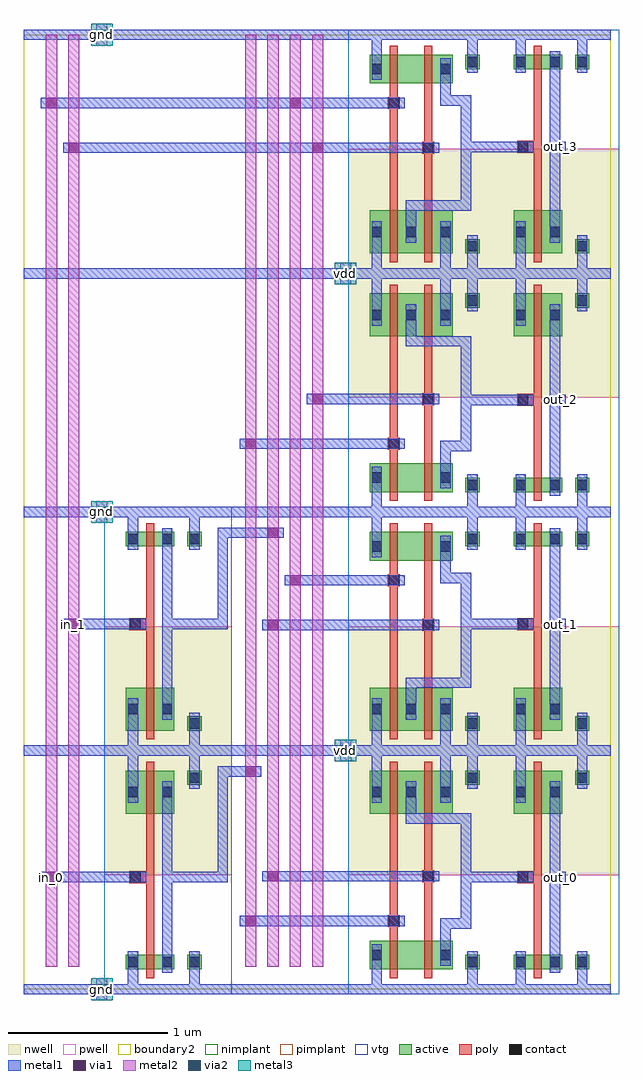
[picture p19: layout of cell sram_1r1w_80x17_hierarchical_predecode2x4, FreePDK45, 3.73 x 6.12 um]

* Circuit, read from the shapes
.subckt sram_1r1w_80x17_hierarchical_predecode2x4 gnd in_0 in_1 out_0 out_1 out_2 out_3 vdd
M1 sram_1r1w_80x17_and2_dec_2/A in_0 gnd gnd nfet w=0.09u l=0.05u
M2 sram_1r1w_80x17_and2_dec_2/B in_1 gnd gnd nfet w=0.09u l=0.05u
M3 sram_1r1w_80x17_and2_dec_2/sram_1r1w_80x17_pnand2_0/sram_1r1w_80x17_nmos_m1_w0_180_sm1_dactive_2/D sram_1r1w_80x17_and2_dec_2/A gnd gnd nfet w=0.18u l=0.05u
M4 sram_1r1w_80x17_and2_dec_3/sram_1r1w_80x17_pnand2_0/sram_1r1w_80x17_nmos_m1_w0_180_sm1_dactive_2/D in_0 gnd gnd nfet w=0.18u l=0.05u
M5 sram_1r1w_80x17_and2_dec_4/sram_1r1w_80x17_pnand2_0/sram_1r1w_80x17_nmos_m1_w0_180_sm1_dactive_2/D sram_1r1w_80x17_and2_dec_2/A gnd gnd nfet w=0.18u l=0.05u
M6 sram_1r1w_80x17_and2_dec_5/sram_1r1w_80x17_pnand2_0/sram_1r1w_80x17_nmos_m1_w0_180_sm1_dactive_2/D in_0 gnd gnd nfet w=0.18u l=0.05u
M7 sram_1r1w_80x17_and2_dec_2/sram_1r1w_80x17_pinv_1/A sram_1r1w_80x17_and2_dec_2/B sram_1r1w_80x17_and2_dec_2/sram_1r1w_80x17_pnand2_0/sram_1r1w_80x17_nmos_m1_w0_180_sm1_dactive_2/D gnd nfet w=0.18u l=0.05u
M8 sram_1r1w_80x17_and2_dec_3/sram_1r1w_80x17_pinv_1/A sram_1r1w_80x17_and2_dec_2/B sram_1r1w_80x17_and2_dec_3/sram_1r1w_80x17_pnand2_0/sram_1r1w_80x17_nmos_m1_w0_180_sm1_dactive_2/D gnd nfet w=0.18u l=0.05u
M9 sram_1r1w_80x17_and2_dec_4/sram_1r1w_80x17_pinv_1/A in_1 sram_1r1w_80x17_and2_dec_4/sram_1r1w_80x17_pnand2_0/sram_1r1w_80x17_nmos_m1_w0_180_sm1_dactive_2/D gnd nfet w=0.18u l=0.05u
M10 sram_1r1w_80x17_and2_dec_5/sram_1r1w_80x17_pinv_1/A in_1 sram_1r1w_80x17_and2_dec_5/sram_1r1w_80x17_pnand2_0/sram_1r1w_80x17_nmos_m1_w0_180_sm1_dactive_2/D gnd nfet w=0.18u l=0.05u
M11 out_0 sram_1r1w_80x17_and2_dec_2/sram_1r1w_80x17_pinv_1/A gnd gnd nfet w=0.09u l=0.05u
M12 out_1 sram_1r1w_80x17_and2_dec_3/sram_1r1w_80x17_pinv_1/A gnd gnd nfet w=0.09u l=0.05u
M13 out_2 sram_1r1w_80x17_and2_dec_4/sram_1r1w_80x17_pinv_1/A gnd gnd nfet w=0.09u l=0.05u
M14 out_3 sram_1r1w_80x17_and2_dec_5/sram_1r1w_80x17_pinv_1/A gnd gnd nfet w=0.09u l=0.05u
M15 sram_1r1w_80x17_and2_dec_2/A in_0 vdd vdd pfet w=0.27u l=0.05u
M16 sram_1r1w_80x17_and2_dec_2/B in_1 vdd vdd pfet w=0.27u l=0.05u
M17 sram_1r1w_80x17_and2_dec_2/sram_1r1w_80x17_pinv_1/A sram_1r1w_80x17_and2_dec_2/A vdd vdd pfet w=0.27u l=0.05u
M18 sram_1r1w_80x17_and2_dec_3/sram_1r1w_80x17_pinv_1/A in_0 vdd vdd pfet w=0.27u l=0.05u
M19 sram_1r1w_80x17_and2_dec_4/sram_1r1w_80x17_pinv_1/A sram_1r1w_80x17_and2_dec_2/A vdd vdd pfet w=0.27u l=0.05u
M20 sram_1r1w_80x17_and2_dec_5/sram_1r1w_80x17_pinv_1/A in_0 vdd vdd pfet w=0.27u l=0.05u
M21 vdd sram_1r1w_80x17_and2_dec_2/B sram_1r1w_80x17_and2_dec_2/sram_1r1w_80x17_pinv_1/A vdd pfet w=0.27u l=0.05u
M22 vdd sram_1r1w_80x17_and2_dec_2/B sram_1r1w_80x17_and2_dec_3/sram_1r1w_80x17_pinv_1/A vdd pfet w=0.27u l=0.05u
M23 vdd in_1 sram_1r1w_80x17_and2_dec_4/sram_1r1w_80x17_pinv_1/A vdd pfet w=0.27u l=0.05u
M24 vdd in_1 sram_1r1w_80x17_and2_dec_5/sram_1r1w_80x17_pinv_1/A vdd pfet w=0.27u l=0.05u
M25 out_0 sram_1r1w_80x17_and2_dec_2/sram_1r1w_80x17_pinv_1/A vdd vdd pfet w=0.27u l=0.05u
M26 out_1 sram_1r1w_80x17_and2_dec_3/sram_1r1w_80x17_pinv_1/A vdd vdd pfet w=0.27u l=0.05u
M27 out_2 sram_1r1w_80x17_and2_dec_4/sram_1r1w_80x17_pinv_1/A vdd vdd pfet w=0.27u l=0.05u
M28 out_3 sram_1r1w_80x17_and2_dec_5/sram_1r1w_80x17_pinv_1/A vdd vdd pfet w=0.27u l=0.05u
.ends

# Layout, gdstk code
import gdstk
lib = gdstk.Library(unit=1e-6, precision=5e-10)
def R(c, l, rs):  # rectangles x0, y0, x1, y1
    for r in rs: c.add(gdstk.rectangle(r[:2], r[2:], *l))
def A(c, l, x, y, w, h, nx, ny, dx, dy):  # array of equal rectangles
    R(c, l, [(x+i*dx, y+j*dy, x+i*dx+w, y+j*dy+h) for i in range(nx) for j in range(ny)])
active = (1, 0)
pwell = (2, 0)
nwell = (3, 0)
nimplant = (4, 0)
pimplant = (5, 0)
vtg = (6, 0)
poly = (9, 0)
contact = (10, 0)
metal1 = (11, 0)
via1 = (12, 0)
metal2 = (13, 0)
via2 = (14, 0)
metal3 = (15, 0)
boundary2 = (239, 0)

sram_1r1w_80x17_contact_ = lib.new_cell('sram_1r1w_80x17_contact_11')
R(sram_1r1w_80x17_contact_, active, [(0,0.0225,0.09,0.1125)])
R(sram_1r1w_80x17_contact_, nwell, [(-0.055,-0.0325,0.145,0.1675)])
R(sram_1r1w_80x17_contact_, pimplant, [(0,0.0225,0.09,0.1125)])
R(sram_1r1w_80x17_contact_, contact, [(0.0125,0.035,0.0775,0.1)])
R(sram_1r1w_80x17_contact_, metal1, [(0.0125,0,0.0775,0.135)])
R(sram_1r1w_80x17_contact_, boundary2, [(-0.055,-0.0325,0.145,0.1675)])

sram_1r1w_80x17_pmos_m1_ = lib.new_cell('sram_1r1w_80x17_pmos_m1_w0_270_sm1_dm1_da_p')
R(sram_1r1w_80x17_pmos_m1_, active, [(0,0,0.305,0.27)])
R(sram_1r1w_80x17_pmos_m1_, nwell, [(-0.08,-0.08,0.385,0.35)])
R(sram_1r1w_80x17_pmos_m1_, pimplant, [(0,0,0.305,0.27)])
R(sram_1r1w_80x17_pmos_m1_, vtg, [(-0.08,-0.08,0.385,0.35)])
R(sram_1r1w_80x17_pmos_m1_, poly, [(0.1275,-0.055,0.1775,0.325), (0.1275,-0.055,0.1775,0.325)])
R(sram_1r1w_80x17_pmos_m1_, metal1, [(0.0125,0.0675,0.0775,0.2025), (0.2275,0.0675,0.2925,0.2025)])
R(sram_1r1w_80x17_pmos_m1_, boundary2, [(-0.08,-0.08,0.385,0.35)])
sram_1r1w_80x17_pmos_m1_.add(gdstk.Reference(sram_1r1w_80x17_contact_, (0,0.0675)))
sram_1r1w_80x17_pmos_m1_.add(gdstk.Reference(sram_1r1w_80x17_contact_, (0.215,0.0675)))
sram_1r1w_80x17_pmos_m1_.add(gdstk.Label('G', (0.1525,0.135), layer=9, texttype=0))
sram_1r1w_80x17_pmos_m1_.add(gdstk.Label('S', (0.045,0.135), layer=11, texttype=0))
sram_1r1w_80x17_pmos_m1_.add(gdstk.Label('D', (0.26,0.135), layer=11, texttype=0))

c_sram_1r1w_80x17_contact_ = lib.new_cell('sram_1r1w_80x17_contact_10')
R(c_sram_1r1w_80x17_contact_, active, [(0,0.0225,0.09,0.1125)])
R(c_sram_1r1w_80x17_contact_, pwell, [(-0.055,-0.0325,0.145,0.1675)])
R(c_sram_1r1w_80x17_contact_, nimplant, [(0,0.0225,0.09,0.1125)])
R(c_sram_1r1w_80x17_contact_, contact, [(0.0125,0.035,0.0775,0.1)])
R(c_sram_1r1w_80x17_contact_, metal1, [(0.0125,0,0.0775,0.135)])
R(c_sram_1r1w_80x17_contact_, boundary2, [(-0.055,-0.0325,0.145,0.1675)])

sram_1r1w_80x17_nmos_m1_ = lib.new_cell('sram_1r1w_80x17_nmos_m1_w0_090_sm1_dm1_da_p')
R(sram_1r1w_80x17_nmos_m1_, active, [(0,0,0.305,0.09)])
R(sram_1r1w_80x17_nmos_m1_, pwell, [(-0.08,-0.08,0.385,0.17)])
R(sram_1r1w_80x17_nmos_m1_, nimplant, [(0,0,0.305,0.09)])
R(sram_1r1w_80x17_nmos_m1_, vtg, [(-0.08,-0.08,0.385,0.17)])
R(sram_1r1w_80x17_nmos_m1_, poly, [(0.1275,-0.055,0.1775,0.145), (0.1275,-0.055,0.1775,0.145)])
R(sram_1r1w_80x17_nmos_m1_, metal1, [(0.0125,-0.0225,0.0775,0.1125), (0.2275,-0.0225,0.2925,0.1125)])
R(sram_1r1w_80x17_nmos_m1_, boundary2, [(-0.08,-0.08,0.385,0.17)])
sram_1r1w_80x17_nmos_m1_.add(gdstk.Reference(c_sram_1r1w_80x17_contact_, (0,-0.0225)))
sram_1r1w_80x17_nmos_m1_.add(gdstk.Reference(c_sram_1r1w_80x17_contact_, (0.215,-0.0225)))
sram_1r1w_80x17_nmos_m1_.add(gdstk.Label('G', (0.1525,0.045), layer=9, texttype=0))
sram_1r1w_80x17_nmos_m1_.add(gdstk.Label('S', (0.045,0.045), layer=11, texttype=0))
sram_1r1w_80x17_nmos_m1_.add(gdstk.Label('D', (0.26,0.045), layer=11, texttype=0))

c_sram_1r1w_80x17_contact__ = lib.new_cell('sram_1r1w_80x17_contact_12')
R(c_sram_1r1w_80x17_contact__, active, [(0,0.0225,0.09,0.1125)])
R(c_sram_1r1w_80x17_contact__, nwell, [(-0.055,-0.0325,0.145,0.1675)])
R(c_sram_1r1w_80x17_contact__, nimplant, [(0,0.0225,0.09,0.1125)])
R(c_sram_1r1w_80x17_contact__, contact, [(0.0125,0.035,0.0775,0.1)])
R(c_sram_1r1w_80x17_contact__, metal1, [(0.0125,0,0.0775,0.135)])
R(c_sram_1r1w_80x17_contact__, boundary2, [(-0.055,-0.0325,0.145,0.1675)])

c_sram_1r1w_80x17_contact___ = lib.new_cell('sram_1r1w_80x17_contact_13')
R(c_sram_1r1w_80x17_contact___, active, [(0,0.0225,0.09,0.1125)])
R(c_sram_1r1w_80x17_contact___, pwell, [(-0.055,-0.0325,0.145,0.1675)])
R(c_sram_1r1w_80x17_contact___, pimplant, [(0,0.0225,0.09,0.1125)])
R(c_sram_1r1w_80x17_contact___, contact, [(0.0125,0.035,0.0775,0.1)])
R(c_sram_1r1w_80x17_contact___, metal1, [(0.0125,0,0.0775,0.135)])
R(c_sram_1r1w_80x17_contact___, boundary2, [(-0.055,-0.0325,0.145,0.1675)])

c_sram_1r1w_80x17_contact____ = lib.new_cell('sram_1r1w_80x17_contact_14')
R(c_sram_1r1w_80x17_contact____, poly, [(0.03,0,0.105,0.075)])
R(c_sram_1r1w_80x17_contact____, contact, [(0.035,0.005,0.1,0.07)])
R(c_sram_1r1w_80x17_contact____, metal1, [(0,0.005,0.135,0.07)])
R(c_sram_1r1w_80x17_contact____, boundary2, [(0,0,0.135,0.075)])

sram_1r1w_80x17_pinv = lib.new_cell('sram_1r1w_80x17_pinv')
R(sram_1r1w_80x17_pinv, pwell, [(-0.055,-0.0325,0.7425,0.7175)])
R(sram_1r1w_80x17_pinv, nwell, [(-0.055,0.7175,0.7425,1.53)])
R(sram_1r1w_80x17_pinv, vtg, [(-0.055,-0.0325,0.7425,0.7175), (-0.055,0.7175,0.7425,1.53)])
R(sram_1r1w_80x17_pinv, poly, [(0.2075,0.27,0.2575,1.045), (0.14,0.665,0.2075,0.74)])
R(sram_1r1w_80x17_pinv, metal1, [(0,-0.0325,0.6875,0.0325), (0.0925,-0.0325,0.1575,0.1025), (0.4775,0,0.5425,0.17), (0.3075,0.1025,0.3725,1.3025), (0.0725,0.67,0.2075,0.735), (0.34,0.67,0.405,0.735), (0.0925,1.1675,0.1575,1.5275), (0.4775,1.325,0.5425,1.495), (0,1.4625,0.6875,1.5275)])
R(sram_1r1w_80x17_pinv, boundary2, [(0,0,0.6875,1.495), (0,0,0.6875,1.495)])
sram_1r1w_80x17_pinv.add(gdstk.Reference(sram_1r1w_80x17_pmos_m1_, (0.08,1.1)))
sram_1r1w_80x17_pinv.add(gdstk.Reference(sram_1r1w_80x17_nmos_m1_, (0.08,0.125)))
sram_1r1w_80x17_pinv.add(gdstk.Reference(c_sram_1r1w_80x17_contact__, (0.465,1.2575)))
sram_1r1w_80x17_pinv.add(gdstk.Reference(c_sram_1r1w_80x17_contact___, (0.465,0.1025)))
sram_1r1w_80x17_pinv.add(gdstk.Reference(c_sram_1r1w_80x17_contact____, (0.0725,0.665)))
sram_1r1w_80x17_pinv.add(gdstk.Label('A', (0.14,0.7025), layer=11, texttype=0))
sram_1r1w_80x17_pinv.add(gdstk.Label('Z', (0.3725,0.7025), layer=11, texttype=0))
sram_1r1w_80x17_pinv.add(gdstk.Label('gnd', (0.344,0), layer=11, texttype=0))
sram_1r1w_80x17_pinv.add(gdstk.Label('vdd', (0.344,1.495), layer=11, texttype=0))

c_sram_1r1w_80x17_pmos_m1_ = lib.new_cell('sram_1r1w_80x17_pmos_m1_w0_270_sm1_dm1')
R(c_sram_1r1w_80x17_pmos_m1_, active, [(0,0,0.305,0.27)])
R(c_sram_1r1w_80x17_pmos_m1_, nwell, [(-0.08,-0.08,0.385,0.35)])
R(c_sram_1r1w_80x17_pmos_m1_, pimplant, [(0,0,0.305,0.27)])
R(c_sram_1r1w_80x17_pmos_m1_, vtg, [(-0.08,-0.08,0.385,0.35)])
R(c_sram_1r1w_80x17_pmos_m1_, poly, [(0.1275,-0.055,0.1775,0.325), (0.1275,-0.055,0.1775,0.325)])
R(c_sram_1r1w_80x17_pmos_m1_, metal1, [(0.0125,0.0675,0.0775,0.2025), (0.2275,0.0675,0.2925,0.2025)])
R(c_sram_1r1w_80x17_pmos_m1_, boundary2, [(-0.08,-0.08,0.385,0.35)])
c_sram_1r1w_80x17_pmos_m1_.add(gdstk.Reference(sram_1r1w_80x17_contact_, (0,0.0675)))
c_sram_1r1w_80x17_pmos_m1_.add(gdstk.Reference(sram_1r1w_80x17_contact_, (0.215,0.0675)))
c_sram_1r1w_80x17_pmos_m1_.add(gdstk.Label('G', (0.1525,0.135), layer=9, texttype=0))
c_sram_1r1w_80x17_pmos_m1_.add(gdstk.Label('S', (0.045,0.135), layer=11, texttype=0))
c_sram_1r1w_80x17_pmos_m1_.add(gdstk.Label('D', (0.26,0.135), layer=11, texttype=0))

c_sram_1r1w_80x17_nmos_m1_ = lib.new_cell('sram_1r1w_80x17_nmos_m1_w0_180_sm1_dactive')
R(c_sram_1r1w_80x17_nmos_m1_, active, [(0,0,0.305,0.18), (0.215,0.045,0.305,0.135)])
R(c_sram_1r1w_80x17_nmos_m1_, pwell, [(-0.08,-0.08,0.385,0.26)])
R(c_sram_1r1w_80x17_nmos_m1_, nimplant, [(0,0,0.305,0.18)])
R(c_sram_1r1w_80x17_nmos_m1_, vtg, [(-0.08,-0.08,0.385,0.26)])
R(c_sram_1r1w_80x17_nmos_m1_, poly, [(0.1275,-0.055,0.1775,0.235), (0.1275,-0.055,0.1775,0.235)])
R(c_sram_1r1w_80x17_nmos_m1_, metal1, [(0.0125,0.0225,0.0775,0.1575)])
R(c_sram_1r1w_80x17_nmos_m1_, boundary2, [(-0.08,-0.08,0.385,0.26)])
c_sram_1r1w_80x17_nmos_m1_.add(gdstk.Reference(c_sram_1r1w_80x17_contact_, (0,0.0225)))
c_sram_1r1w_80x17_nmos_m1_.add(gdstk.Label('G', (0.1525,0.09), layer=9, texttype=0))
c_sram_1r1w_80x17_nmos_m1_.add(gdstk.Label('S', (0.045,0.09), layer=11, texttype=0))
c_sram_1r1w_80x17_nmos_m1_.add(gdstk.Label('D', (0.26,0.09), layer=1, texttype=0))

c_sram_1r1w_80x17_nmos_m1__ = lib.new_cell('sram_1r1w_80x17_nmos_m1_w0_180_sactive_dm1')
R(c_sram_1r1w_80x17_nmos_m1__, active, [(0,0,0.305,0.18), (0,0.045,0.09,0.135)])
R(c_sram_1r1w_80x17_nmos_m1__, pwell, [(-0.08,-0.08,0.385,0.26)])
R(c_sram_1r1w_80x17_nmos_m1__, nimplant, [(0,0,0.305,0.18)])
R(c_sram_1r1w_80x17_nmos_m1__, vtg, [(-0.08,-0.08,0.385,0.26)])
R(c_sram_1r1w_80x17_nmos_m1__, poly, [(0.1275,-0.055,0.1775,0.235), (0.1275,-0.055,0.1775,0.235)])
R(c_sram_1r1w_80x17_nmos_m1__, metal1, [(0.2275,0.0225,0.2925,0.1575)])
R(c_sram_1r1w_80x17_nmos_m1__, boundary2, [(-0.08,-0.08,0.385,0.26)])
c_sram_1r1w_80x17_nmos_m1__.add(gdstk.Reference(c_sram_1r1w_80x17_contact_, (0.215,0.0225)))
c_sram_1r1w_80x17_nmos_m1__.add(gdstk.Label('G', (0.1525,0.09), layer=9, texttype=0))
c_sram_1r1w_80x17_nmos_m1__.add(gdstk.Label('S', (0.045,0.09), layer=1, texttype=0))
c_sram_1r1w_80x17_nmos_m1__.add(gdstk.Label('D', (0.26,0.09), layer=11, texttype=0))

sram_1r1w_80x17_pnand2 = lib.new_cell('sram_1r1w_80x17_pnand2')
R(sram_1r1w_80x17_pnand2, pwell, [(-0.055,-0.0325,0.9575,0.7175)])
R(sram_1r1w_80x17_pnand2, nwell, [(-0.055,0.7175,0.9575,1.53)])
R(sram_1r1w_80x17_pnand2, vtg, [(-0.055,-0.0325,0.9575,0.7175), (-0.055,0.7175,0.9575,1.53)])
R(sram_1r1w_80x17_pnand2, poly, [(0.2075,0.36,0.2575,1.045), (0.4225,0.36,0.4725,1.045), (0.2075,0.39,0.2325,0.465), (0.4225,0.67,0.4475,0.745)])
R(sram_1r1w_80x17_pnand2, metal1, [(0,-0.0325,0.9025,0.0325), (0.0925,-0.0325,0.1575,0.1475), (0.6925,0,0.7575,0.17), (0.5225,0.2825,0.5875,0.4125), (0.5225,0.38,0.5875,0.445), (0.555,0.38,0.685,0.445), (0.6525,0.38,0.7175,0.445), (0.165,0.395,0.3,0.46), (0.6525,0.4125,0.7175,1.07), (0.38,0.675,0.515,0.74), (0.3075,1.0375,0.3725,1.1025), (0.34,1.0375,0.685,1.1025), (0.6525,1.0375,0.7175,1.1025), (0.3075,1.07,0.3725,1.1675), (0.0925,1.1675,0.1575,1.5275), (0.5225,1.1675,0.5875,1.5275), (0.6925,1.325,0.7575,1.495), (0,1.4625,0.9025,1.5275)])
R(sram_1r1w_80x17_pnand2, boundary2, [(0,0,0.9025,1.495), (0,0,0.9025,1.495)])
sram_1r1w_80x17_pnand2.add(gdstk.Reference(c_sram_1r1w_80x17_pmos_m1_, (0.08,1.1)))
sram_1r1w_80x17_pnand2.add(gdstk.Reference(c_sram_1r1w_80x17_pmos_m1_, (0.295,1.1)))
sram_1r1w_80x17_pnand2.add(gdstk.Reference(c_sram_1r1w_80x17_nmos_m1_, (0.08,0.125)))
sram_1r1w_80x17_pnand2.add(gdstk.Reference(c_sram_1r1w_80x17_nmos_m1__, (0.295,0.125)))
sram_1r1w_80x17_pnand2.add(gdstk.Reference(c_sram_1r1w_80x17_contact__, (0.68,1.2575)))
sram_1r1w_80x17_pnand2.add(gdstk.Reference(c_sram_1r1w_80x17_contact___, (0.68,0.1025)))
sram_1r1w_80x17_pnand2.add(gdstk.Reference(c_sram_1r1w_80x17_contact____, (0.165,0.39)))
sram_1r1w_80x17_pnand2.add(gdstk.Reference(c_sram_1r1w_80x17_contact____, (0.38,0.67)))
sram_1r1w_80x17_pnand2.add(gdstk.Label('Z', (0.685,1.07), layer=11, texttype=0))
sram_1r1w_80x17_pnand2.add(gdstk.Label('gnd', (0.451,0), layer=11, texttype=0))
sram_1r1w_80x17_pnand2.add(gdstk.Label('vdd', (0.451,1.495), layer=11, texttype=0))
sram_1r1w_80x17_pnand2.add(gdstk.Label('A', (0.2325,0.4275), layer=11, texttype=0))
sram_1r1w_80x17_pnand2.add(gdstk.Label('B', (0.4475,0.7075), layer=11, texttype=0))

sram_1r1w_80x17_and2_dec = lib.new_cell('sram_1r1w_80x17_and2_dec')
R(sram_1r1w_80x17_and2_dec, metal1, [(0,-0.0325,1.59,0.0325), (0.165,0.395,0.3,0.46), (0.6525,0.67,0.7175,0.735), (0.685,0.67,1.0425,0.735), (1.2425,0.67,1.3075,0.735), (0.38,0.675,0.515,0.74), (0.6525,0.7025,0.7175,1.07), (0,1.4625,1.59,1.5275)])
R(sram_1r1w_80x17_and2_dec, boundary2, [(0,0,1.59,1.495)])
sram_1r1w_80x17_and2_dec.add(gdstk.Reference(sram_1r1w_80x17_pnand2, (0,0)))
sram_1r1w_80x17_and2_dec.add(gdstk.Reference(sram_1r1w_80x17_pinv, (0.9025,0)))
sram_1r1w_80x17_and2_dec.add(gdstk.Label('Z', (1.275,0.7025), layer=11, texttype=0))
sram_1r1w_80x17_and2_dec.add(gdstk.Label('A', (0.2325,0.4275), layer=11, texttype=0))
sram_1r1w_80x17_and2_dec.add(gdstk.Label('B', (0.4475,0.7075), layer=11, texttype=0))
sram_1r1w_80x17_and2_dec.add(gdstk.Label('gnd', (0.795,0), layer=11, texttype=0))
sram_1r1w_80x17_and2_dec.add(gdstk.Label('vdd', (0.795,1.495), layer=11, texttype=0))

c_sram_1r1w_80x17_contact_____ = lib.new_cell('sram_1r1w_80x17_contact_15')
R(c_sram_1r1w_80x17_contact_____, metal1, [(0,0.035,0.135,0.1)])
R(c_sram_1r1w_80x17_contact_____, via1, [(0.035,0.035,0.1,0.1)])
R(c_sram_1r1w_80x17_contact_____, metal2, [(0.0325,0,0.1025,0.135)])
R(c_sram_1r1w_80x17_contact_____, boundary2, [(0,0,0.135,0.135)])

c_sram_1r1w_80x17_contact______ = lib.new_cell('sram_1r1w_80x17_contact_17')
R(c_sram_1r1w_80x17_contact______, metal1, [(0,0.035,0.135,0.1)])
R(c_sram_1r1w_80x17_contact______, via1, [(0.035,0.035,0.1,0.1)])
R(c_sram_1r1w_80x17_contact______, metal2, [(0.0325,0,0.1025,0.135)])
R(c_sram_1r1w_80x17_contact______, boundary2, [(0,0,0.135,0.135)])

c_sram_1r1w_80x17_contact_______ = lib.new_cell('sram_1r1w_80x17_contact_18')
R(c_sram_1r1w_80x17_contact_______, metal2, [(0.0325,0,0.1025,0.135)])
R(c_sram_1r1w_80x17_contact_______, via2, [(0.035,0.035,0.1,0.1)])
R(c_sram_1r1w_80x17_contact_______, metal3, [(0,0.0325,0.135,0.1025)])
R(c_sram_1r1w_80x17_contact_______, boundary2, [(0,0,0.135,0.135)])

sram_1r1w_80x17_hierarch = lib.new_cell('sram_1r1w_80x17_hierarchical_predecode2x4')
R(sram_1r1w_80x17_hierarch, metal1, [(0,-0.0325,3.6775,0.0325), (1.4225,0.395,2.32,0.46), (2.2875,0.395,2.3525,0.46), (0.175,0.67,0.7,0.735), (0.6675,0.67,0.7325,0.735), (0.9325,0.67,0.9975,0.735), (0.965,0.67,1.2475,0.735), (1.215,0.67,1.28,0.735), (3.33,0.67,3.395,0.735), (1.5625,0.675,2.535,0.74), (2.5025,0.675,2.5675,0.74), (1.215,0.7025,1.28,1.365), (1.215,1.3325,1.28,1.3975), (1.2475,1.3325,1.4225,1.3975), (0,1.4625,3.6775,1.5275), (0,1.4625,3.6775,1.5275), (1.5625,2.25,2.535,2.315), (2.5025,2.25,2.5675,2.315), (0.315,2.255,0.7,2.32), (0.6675,2.255,0.7325,2.32), (0.9325,2.255,0.9975,2.32), (0.965,2.255,1.2475,2.32), (1.215,2.255,1.28,2.32), (3.33,2.255,3.395,2.32), (1.215,2.2875,1.28,2.86), (1.7025,2.53,2.32,2.595), (2.2875,2.53,2.3525,2.595), (1.215,2.8275,1.28,2.8925), (1.2475,2.8275,1.5625,2.8925), (0,2.9575,3.6775,3.0225), (0,2.9575,3.6775,3.0225), (1.4225,3.385,2.32,3.45), (2.2875,3.385,2.3525,3.45), (3.33,3.66,3.395,3.725), (1.8425,3.665,2.535,3.73), (2.5025,3.665,2.5675,3.73), (0,4.4525,3.6775,4.5175), (0,4.4525,3.6775,4.5175), (0.315,5.24,1.8425,5.305), (1.8425,5.24,2.535,5.305), (2.5025,5.24,2.5675,5.305), (3.33,5.245,3.395,5.31), (0.175,5.52,1.7025,5.585), (1.7025,5.52,2.32,5.585), (2.2875,5.52,2.3525,5.585), (0,5.9475,3.6775,6.0125)])
A(sram_1r1w_80x17_hierarch, metal2, 1.3875, 0.14, 0.07, 5.84, 4, 1, 0.14, 0)
R(sram_1r1w_80x17_hierarch, metal2, [(0.14,0.14,0.21,5.98), (0.28,0.14,0.35,5.98), (0.14,0.635,0.21,0.77), (0.28,2.22,0.35,2.355)])
A(sram_1r1w_80x17_hierarch, metal3, 0.4225, -0.0675, 0.135, 0.135, 1, 3, 0, 2.99)
R(sram_1r1w_80x17_hierarch, metal3, [(1.95,1.4275,2.085,1.5625), (1.95,4.4175,2.085,4.5525)])
R(sram_1r1w_80x17_hierarch, boundary2, [(0,0,3.6775,5.98)])
sram_1r1w_80x17_hierarch.add(gdstk.Reference(sram_1r1w_80x17_pinv, (0.56,0)))
sram_1r1w_80x17_hierarch.add(gdstk.Reference(sram_1r1w_80x17_pinv, (0.56,2.99), x_reflection=True))
sram_1r1w_80x17_hierarch.add(gdstk.Reference(sram_1r1w_80x17_and2_dec, (2.0875,0)))
sram_1r1w_80x17_hierarch.add(gdstk.Reference(sram_1r1w_80x17_and2_dec, (2.0875,2.99), x_reflection=True))
sram_1r1w_80x17_hierarch.add(gdstk.Reference(sram_1r1w_80x17_and2_dec, (2.0875,2.99)))
sram_1r1w_80x17_hierarch.add(gdstk.Reference(sram_1r1w_80x17_and2_dec, (2.0875,5.98), x_reflection=True))
sram_1r1w_80x17_hierarch.add(gdstk.Reference(c_sram_1r1w_80x17_contact_____, (0.1075,0.635)))
sram_1r1w_80x17_hierarch.add(gdstk.Reference(c_sram_1r1w_80x17_contact_____, (0.2475,2.22)))
sram_1r1w_80x17_hierarch.add(gdstk.Reference(c_sram_1r1w_80x17_contact_____, (1.355,0.36)))
sram_1r1w_80x17_hierarch.add(gdstk.Reference(c_sram_1r1w_80x17_contact_____, (1.495,0.64)))
sram_1r1w_80x17_hierarch.add(gdstk.Reference(c_sram_1r1w_80x17_contact_____, (1.635,2.495)))
sram_1r1w_80x17_hierarch.add(gdstk.Reference(c_sram_1r1w_80x17_contact_____, (1.495,2.215)))
sram_1r1w_80x17_hierarch.add(gdstk.Reference(c_sram_1r1w_80x17_contact_____, (1.355,3.35)))
sram_1r1w_80x17_hierarch.add(gdstk.Reference(c_sram_1r1w_80x17_contact_____, (1.775,3.63)))
sram_1r1w_80x17_hierarch.add(gdstk.Reference(c_sram_1r1w_80x17_contact_____, (1.635,5.485)))
sram_1r1w_80x17_hierarch.add(gdstk.Reference(c_sram_1r1w_80x17_contact_____, (1.775,5.205)))
sram_1r1w_80x17_hierarch.add(gdstk.Reference(c_sram_1r1w_80x17_contact_____, (1.355,1.2975)))
sram_1r1w_80x17_hierarch.add(gdstk.Reference(c_sram_1r1w_80x17_contact_____, (1.495,2.7925)))
sram_1r1w_80x17_hierarch.add(gdstk.Reference(c_sram_1r1w_80x17_contact______, (0.1075,5.485)))
sram_1r1w_80x17_hierarch.add(gdstk.Reference(c_sram_1r1w_80x17_contact______, (1.635,5.485)))
sram_1r1w_80x17_hierarch.add(gdstk.Reference(c_sram_1r1w_80x17_contact______, (0.2475,5.205)))
sram_1r1w_80x17_hierarch.add(gdstk.Reference(c_sram_1r1w_80x17_contact______, (1.775,5.205)))
sram_1r1w_80x17_hierarch.add(gdstk.Reference(c_sram_1r1w_80x17_contact______, (1.95,1.4275)))
sram_1r1w_80x17_hierarch.add(gdstk.Reference(c_sram_1r1w_80x17_contact_______, (1.95,1.4275)))
sram_1r1w_80x17_hierarch.add(gdstk.Reference(c_sram_1r1w_80x17_contact______, (0.4225,-0.0675)))
sram_1r1w_80x17_hierarch.add(gdstk.Reference(c_sram_1r1w_80x17_contact_______, (0.4225,-0.0675)))
sram_1r1w_80x17_hierarch.add(gdstk.Reference(c_sram_1r1w_80x17_contact______, (1.95,1.4275)))
sram_1r1w_80x17_hierarch.add(gdstk.Reference(c_sram_1r1w_80x17_contact_______, (1.95,1.4275)))
sram_1r1w_80x17_hierarch.add(gdstk.Reference(c_sram_1r1w_80x17_contact______, (0.4225,2.9225)))
sram_1r1w_80x17_hierarch.add(gdstk.Reference(c_sram_1r1w_80x17_contact_______, (0.4225,2.9225)))
sram_1r1w_80x17_hierarch.add(gdstk.Reference(c_sram_1r1w_80x17_contact______, (1.95,4.4175)))
sram_1r1w_80x17_hierarch.add(gdstk.Reference(c_sram_1r1w_80x17_contact_______, (1.95,4.4175)))
sram_1r1w_80x17_hierarch.add(gdstk.Reference(c_sram_1r1w_80x17_contact______, (0.4225,2.9225)))
sram_1r1w_80x17_hierarch.add(gdstk.Reference(c_sram_1r1w_80x17_contact_______, (0.4225,2.9225)))
sram_1r1w_80x17_hierarch.add(gdstk.Reference(c_sram_1r1w_80x17_contact______, (1.95,4.4175)))
sram_1r1w_80x17_hierarch.add(gdstk.Reference(c_sram_1r1w_80x17_contact_______, (1.95,4.4175)))
sram_1r1w_80x17_hierarch.add(gdstk.Reference(c_sram_1r1w_80x17_contact______, (0.4225,5.9125)))
sram_1r1w_80x17_hierarch.add(gdstk.Reference(c_sram_1r1w_80x17_contact_______, (0.4225,5.9125)))
sram_1r1w_80x17_hierarch.add(gdstk.Label('in_0', (0.175,0.7025), layer=13, texttype=0))
sram_1r1w_80x17_hierarch.add(gdstk.Label('in_1', (0.315,2.2875), layer=13, texttype=0))
sram_1r1w_80x17_hierarch.add(gdstk.Label('out_0', (3.3625,0.7025), layer=11, texttype=0))
sram_1r1w_80x17_hierarch.add(gdstk.Label('out_1', (3.3625,2.2875), layer=11, texttype=0))
sram_1r1w_80x17_hierarch.add(gdstk.Label('out_2', (3.3625,3.6925), layer=11, texttype=0))
sram_1r1w_80x17_hierarch.add(gdstk.Label('out_3', (3.3625,5.2775), layer=11, texttype=0))
sram_1r1w_80x17_hierarch.add(gdstk.Label('vdd', (2.0175,1.495), layer=15, texttype=0))
sram_1r1w_80x17_hierarch.add(gdstk.Label('vdd', (2.0175,4.485), layer=15, texttype=0))
sram_1r1w_80x17_hierarch.add(gdstk.Label('gnd', (0.49,0), layer=15, texttype=0))
sram_1r1w_80x17_hierarch.add(gdstk.Label('gnd', (0.49,2.99), layer=15, texttype=0))
sram_1r1w_80x17_hierarch.add(gdstk.Label('gnd', (0.49,5.98), layer=15, texttype=0))

lib.write_gds('sram_1r1w_80x17_hierarchical_predecode2x4.gds')
